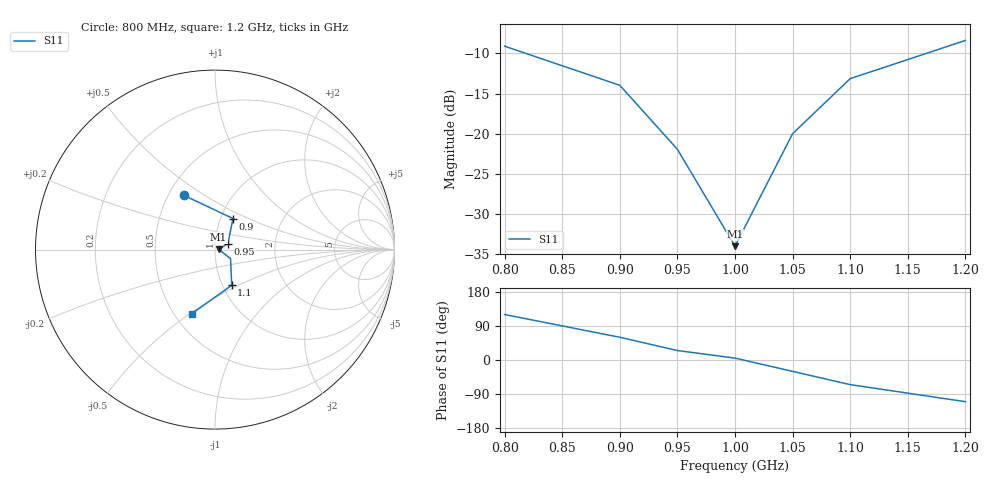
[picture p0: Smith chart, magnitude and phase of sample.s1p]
! Example S1P file for SmithTool testing
! 50 ohm antenna with resonance at 1 GHz
# GHz S MA R 50
! freq  mag  phase
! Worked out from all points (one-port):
!   7 points, 800 MHz to 1.2 GHz, reference 50 ohm
!   lowest |S11| = -34.0 dB at 1 GHz (marker M1), VSWR 1.04, Z = 52 + j0.181 ohm
!   |S11| at or under -10 dB: 818.1 MHz to 1.166 GHz (348.3 MHz wide, 35.1 % of centre)
!   S11 on the Smith chart (normalised r, x): 800 MHz: 0.60, +0.41; 900 MHz: 1.14, +0.41; 950 MHz: 1.15, +0.08; 1.1 GHz: 1.10, -0.46; 1.2 GHz: 0.61, -0.51
0.8  0.35 120.0
0.9  0.2 60.0
0.95  0.08 25.0
1  0.02 5.0
1.05  0.1 -30.0
1.1  0.22 -65.0
1.2  0.38 -110.0
